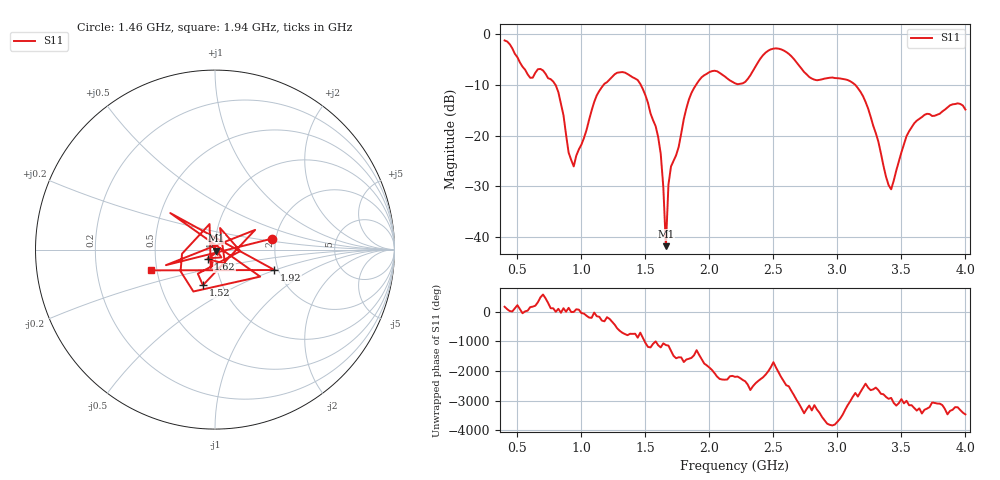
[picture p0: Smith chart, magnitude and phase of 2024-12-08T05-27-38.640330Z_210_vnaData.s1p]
!Created with skrf (http://scikit-rf.org).
# Hz S RI R 50.0
!freq ReS11 ImS11
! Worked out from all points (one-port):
!   181 points, 400 MHz to 4 GHz, reference 50 ohm
!   lowest |S11| = -41.8 dB at 1.66 GHz (marker M1), VSWR 1.02, Z = 50.6 - j0.606 ohm
!   |S11| at or under -10 dB: 796.8 MHz to 1.174 GHz (377.4 MHz wide, 38.3 % of centre); 1.463 GHz to 1.896 GHz (433.1 MHz wide, 25.8 % of centre); 3.138 GHz to end of sweep
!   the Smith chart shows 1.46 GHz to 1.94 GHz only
!   S11 on the Smith chart (normalised r, x): 1.46 GHz: 1.90, +0.26; 1.52 GHz: 0.81, -0.34; 1.62 GHz: 0.92, -0.10; 1.92 GHz: 1.91, -0.49; 1.94 GHz: 0.46, -0.12
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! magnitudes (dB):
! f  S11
! 400 MHz  -1.3
! 600 MHz  -8.6
! 780 MHz  -9.4
! 860 MHz  -16.0
! 900 MHz  -23.3
! 940 MHz  -26.1
! 1.12 GHz  -12.1
! 1.3 GHz  -7.6
! 1.46 GHz  -9.8
! 1.52 GHz  -13.6
! 1.62 GHz  -23.7
! 1.64 GHz  -30.2
! 1.66 GHz  -41.8
! 1.68 GHz  -29.7
! 1.76 GHz  -22.2
! 1.84 GHz  -12.9
! 1.92 GHz  -9.1
! 1.94 GHz  -8.5
! 2.2 GHz  -9.7
! 2.48 GHz  -3.0
! 2.66 GHz  -4.9
! 2.82 GHz  -9.0
! 3.1 GHz  -9.3
! 3.24 GHz  -14.7
! 3.42 GHz  -30.6
! 3.56 GHz  -19.2
! 3.7 GHz  -15.7
! 4 GHz  -14.9
